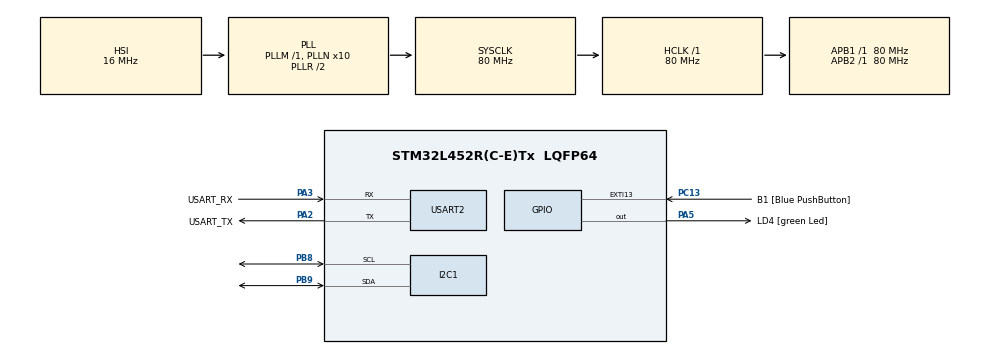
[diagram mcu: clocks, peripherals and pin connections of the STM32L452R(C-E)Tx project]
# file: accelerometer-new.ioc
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I2C1.Timing=0x10909CEC
Mcu.Family=STM32L4
Mcu.Name=STM32L452R(C-E)Tx
Mcu.Package=LQFP64
NVIC.PriorityGroup=NVIC_PRIORITYGROUP_4
PA13\ (JTMS/SWDIO).GPIO_Label=TMS
PA13\ (JTMS/SWDIO).Mode=Serial_Wire
PA13\ (JTMS/SWDIO).Signal=SYS_JTMS-SWDIO
PA14\ (JTCK/SWCLK).GPIO_Label=TCK
PA14\ (JTCK/SWCLK).Mode=Serial_Wire
PA14\ (JTCK/SWCLK).Signal=SYS_JTCK-SWCLK
PA2.GPIO_Label=USART_TX
PA2.GPIO_Mode=GPIO_MODE_AF_PP
PA2.GPIO_PuPd=GPIO_NOPULL
PA2.GPIO_Speed=GPIO_SPEED_FREQ_VERY_HIGH
PA2.Mode=Asynchronous
PA2.Signal=USART2_TX
PA3.GPIO_Label=USART_RX
PA3.GPIO_Mode=GPIO_MODE_AF_PP
PA3.GPIO_PuPd=GPIO_NOPULL
PA3.GPIO_Speed=GPIO_SPEED_FREQ_VERY_HIGH
PA3.Mode=Asynchronous
PA3.Signal=USART2_RX
PA5.GPIO_Label=LD4 [green Led]
PA5.GPIO_ModeDefaultOutputPP=GPIO_MODE_OUTPUT_PP
PA5.GPIO_PuPd=GPIO_NOPULL
PA5.GPIO_Speed=GPIO_SPEED_FREQ_LOW
PA5.Signal=GPIO_Output
PB3\ (JTDO/TRACESWO).GPIO_Label=SWO
PB3\ (JTDO/TRACESWO).Signal=SYS_JTDO-SWO
PB8.Mode=I2C
PB8.Signal=I2C1_SCL
PB9.Mode=I2C
PB9.Signal=I2C1_SDA
PC13.GPIO_Label=B1 [Blue PushButton]
PC13.GPIO_ModeDefaultEXTI=GPIO_MODE_IT_FALLING
PC13.GPIO_PuPd=GPIO_NOPULL
PC13.Signal=GPXTI13
PC14-OSC32_IN\ (PC14).Mode=LSE-External-Oscillator
PC14-OSC32_IN\ (PC14).Signal=RCC_OSC32_IN
PC15-OSC32_OUT\ (PC15).Mode=LSE-External-Oscillator
PC15-OSC32_OUT\ (PC15).Signal=RCC_OSC32_OUT
PH0-OSC_IN\ (PH0).Signal=RCC_OSC_IN
PH1-OSC_OUT\ (PH1).Signal=RCC_OSC_OUT
ProjectManager.HeapSize=0x200
ProjectManager.StackSize=0x400
ProjectManager.TargetToolchain=STM32CubeIDE
RCC.ADCFreq_Value=64000000
RCC.AHBFreq_Value=80000000
RCC.APB1Freq_Value=80000000
RCC.APB1TimFreq_Value=80000000
RCC.APB2Freq_Value=80000000
RCC.APB2TimFreq_Value=80000000
RCC.CortexFreq_Value=80000000
RCC.HCLKFreq_Value=80000000
RCC.HSE_VALUE=8000000
RCC.HSI48_VALUE=48000000
RCC.HSI_VALUE=16000000
RCC.MSI_VALUE=4000000
RCC.PLLN=10
RCC.PLLSourceVirtual=RCC_PLLSOURCE_HSI
RCC.PREFETCH_ENABLE=1
RCC.SYSCLKFreq_VALUE=80000000
RCC.SYSCLKSource=RCC_SYSCLKSOURCE_PLLCLK
RCC.USBFreq_Value=64000000
RCC.VCOOutputFreq_Value=160000000
USART2.VirtualMode-Asynchronous=VM_ASYNC
board=NUCLEO-L452RE

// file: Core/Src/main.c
/* USER CODE BEGIN Header */
/**
  ******************************************************************************
  * @file           : main.c
  * @brief          : Main program body
  ******************************************************************************
  * @attention
  *
  * Copyright (c) 2023 STMicroelectronics.
  * All rights reserved.
  *
  * This software is licensed under terms that can be found in the LICENSE file
  * in the root directory of this software component.
  * If no LICENSE file comes with this software, it is provided AS-IS.
  *
  ******************************************************************************
  *
  * May 30, 2023
  * Works on Asus Zephyrus (new laptop), gets the correct data from accelerometer.
  *
  */
/* USER CODE END Header */
#include "main.h"

/* USER CODE BEGIN Includes */
#include <string.h>
#include <stdio.h>
/* USER CODE END Includes */

I2C_HandleTypeDef hi2c1;

UART_HandleTypeDef huart2;

/* USER CODE BEGIN PV */
#define adxl_address 0x53<<1
/* USER CODE END PV */

void SystemClock_Config(void);
static void MX_GPIO_Init(void);
static void MX_USART2_UART_Init(void);
static void MX_I2C1_Init(void);
/* USER CODE BEGIN PFP */

uint8_t data_rec[6];

int16_t x, y, z; // original: uint16-t

float xg, yg, zg;

void display_data (float);

char x_char[3];

// write function
void adxl_write (uint8_t reg, uint8_t value) {
	uint8_t data[2];
	data[0] = reg;
	data[1] = value;
	HAL_I2C_Master_Transmit (&hi2c1, adxl_address, data, 2, 10);
}

// read function
void adxl_read (uint8_t reg, uint8_t numberofbytes) {
	HAL_I2C_Mem_Read (&hi2c1, adxl_address, reg, 1, data_rec, numberofbytes, 100);
}

// initialization
void adxl_init (void) {
	adxl_read(0x00,1); // 0xE5

	adxl_write (0x2d, 0); // reset all bits
	adxl_write (0x2d, 0x08); // measure bit-1, wakeup 0, 0 at 8hz

	adxl_write (0x31, 0x01); // +- 4g range
}

void display_data(float data) { // TODO check if UART output formatting is correct
	sprintf (x_char, "% 4f", data); // needed to add -u _printf_float linker flag -- might have to change to %.4f
	HAL_UART_Transmit(&huart2,x_char,strlen((char*)x_char),HAL_MAX_DELAY);
}

/* USER CODE END PFP */

int main(void)
{
  /* USER CODE BEGIN 1 */
	uint8_t buf[12];
  /* USER CODE END 1 */

  /* MCU Configuration--------------------------------------------------------*/

  /* Reset of all peripherals, Initializes the Flash interface and the Systick. */
  HAL_Init();

  /* Configure the system clock */
  SystemClock_Config();

  /* Initialize all configured peripherals */
  MX_GPIO_Init();
  MX_USART2_UART_Init();
  MX_I2C1_Init();
  /* USER CODE BEGIN 2 */
  adxl_init();
  /* USER CODE END 2 */

  /* Infinite loop */
  while (1)
  {

    /* USER CODE BEGIN 3 */

	  adxl_read (0x32, 6);
	  x = (data_rec[1]<<8) | data_rec[0];
	  y = (data_rec[3]<<8) | data_rec[2];
	  z = (data_rec[5]<<8) | data_rec[4];

	  /* convert the x value to the g
	   * under test condition: +-4 g, 10-bit resolution */
	  xg = x * .0078;
	  yg = y * .0078;
	  zg = z * .0078;

	  // print data to UART
	  strcpy((char*)buf,"\r\n============\r\nX: ");
	  HAL_UART_Transmit(&huart2,buf,strlen((char*)buf),HAL_MAX_DELAY);
	  display_data(xg);

	  strcpy((char*)buf,"\r\nY: ");
	  HAL_UART_Transmit(&huart2,buf,strlen((char*)buf),HAL_MAX_DELAY);
	  display_data(yg);

	  strcpy((char*)buf,"\r\nZ: ");
	  HAL_UART_Transmit(&huart2,buf,strlen((char*)buf),HAL_MAX_DELAY);
	  display_data(zg);

	  HAL_Delay(500);

  }
  /* USER CODE END 3 */
}

void SystemClock_Config(void)
{
  RCC_OscInitTypeDef RCC_OscInitStruct = {0};
  RCC_ClkInitTypeDef RCC_ClkInitStruct = {0};

  /** Configure the main internal regulator output voltage
  */
  if (HAL_PWREx_ControlVoltageScaling(PWR_REGULATOR_VOLTAGE_SCALE1) != HAL_OK)
  {
    Error_Handler();
  }

  /** Initializes the RCC Oscillators according to the specified parameters
  * in the RCC_OscInitTypeDef structure.
  */
  RCC_OscInitStruct.OscillatorType = RCC_OSCILLATORTYPE_HSI;
  RCC_OscInitStruct.HSIState = RCC_HSI_ON;
  RCC_OscInitStruct.HSICalibrationValue = RCC_HSICALIBRATION_DEFAULT;
  RCC_OscInitStruct.PLL.PLLState = RCC_PLL_ON;
  RCC_OscInitStruct.PLL.PLLSource = RCC_PLLSOURCE_HSI;
  RCC_OscInitStruct.PLL.PLLM = 1;
  RCC_OscInitStruct.PLL.PLLN = 10;
  RCC_OscInitStruct.PLL.PLLP = RCC_PLLP_DIV7;
  RCC_OscInitStruct.PLL.PLLQ = RCC_PLLQ_DIV2;
  RCC_OscInitStruct.PLL.PLLR = RCC_PLLR_DIV2;
  if (HAL_RCC_OscConfig(&RCC_OscInitStruct) != HAL_OK)
  {
    Error_Handler();
  }

  /** Initializes the CPU, AHB and APB buses clocks
  */
  RCC_ClkInitStruct.ClockType = RCC_CLOCKTYPE_HCLK|RCC_CLOCKTYPE_SYSCLK
                              |RCC_CLOCKTYPE_PCLK1|RCC_CLOCKTYPE_PCLK2;
  RCC_ClkInitStruct.SYSCLKSource = RCC_SYSCLKSOURCE_PLLCLK;
  RCC_ClkInitStruct.AHBCLKDivider = RCC_SYSCLK_DIV1;
  RCC_ClkInitStruct.APB1CLKDivider = RCC_HCLK_DIV1;
  RCC_ClkInitStruct.APB2CLKDivider = RCC_HCLK_DIV1;

  if (HAL_RCC_ClockConfig(&RCC_ClkInitStruct, FLASH_LATENCY_4) != HAL_OK)
  {
    Error_Handler();
  }
}

static void MX_I2C1_Init(void)
{

  hi2c1.Instance = I2C1;
  hi2c1.Init.Timing = 0x10909CEC;
  hi2c1.Init.OwnAddress1 = 0;
  hi2c1.Init.AddressingMode = I2C_ADDRESSINGMODE_7BIT;
  hi2c1.Init.DualAddressMode = I2C_DUALADDRESS_DISABLE;
  hi2c1.Init.OwnAddress2 = 0;
  hi2c1.Init.OwnAddress2Masks = I2C_OA2_NOMASK;
  hi2c1.Init.GeneralCallMode = I2C_GENERALCALL_DISABLE;
  hi2c1.Init.NoStretchMode = I2C_NOSTRETCH_DISABLE;
  if (HAL_I2C_Init(&hi2c1) != HAL_OK)
  {
    Error_Handler();
  }

  /** Configure Analogue filter
  */
  if (HAL_I2CEx_ConfigAnalogFilter(&hi2c1, I2C_ANALOGFILTER_ENABLE) != HAL_OK)
  {
    Error_Handler();
  }

  /** Configure Digital filter
  */
  if (HAL_I2CEx_ConfigDigitalFilter(&hi2c1, 0) != HAL_OK)
  {
    Error_Handler();
  }

}

static void MX_USART2_UART_Init(void)
{

  huart2.Instance = USART2;
  huart2.Init.BaudRate = 115200;
  huart2.Init.WordLength = UART_WORDLENGTH_8B;
  huart2.Init.StopBits = UART_STOPBITS_1;
  huart2.Init.Parity = UART_PARITY_NONE;
  huart2.Init.Mode = UART_MODE_TX_RX;
  huart2.Init.HwFlowCtl = UART_HWCONTROL_NONE;
  huart2.Init.OverSampling = UART_OVERSAMPLING_16;
  huart2.Init.OneBitSampling = UART_ONE_BIT_SAMPLE_DISABLE;
  huart2.AdvancedInit.AdvFeatureInit = UART_ADVFEATURE_NO_INIT;
  if (HAL_UART_Init(&huart2) != HAL_OK)
  {
    Error_Handler();
  }

}

static void MX_GPIO_Init(void)
{
  GPIO_InitTypeDef GPIO_InitStruct = {0};

  /* GPIO Ports Clock Enable */
  __HAL_RCC_GPIOC_CLK_ENABLE();
  __HAL_RCC_GPIOH_CLK_ENABLE();
  __HAL_RCC_GPIOA_CLK_ENABLE();
  __HAL_RCC_GPIOB_CLK_ENABLE();

  /*Configure GPIO pin Output Level */
  HAL_GPIO_WritePin(LD4_GPIO_Port, LD4_Pin, GPIO_PIN_RESET);

  /*Configure GPIO pin : B1_Pin */
  GPIO_InitStruct.Pin = B1_Pin;
  GPIO_InitStruct.Mode = GPIO_MODE_IT_FALLING;
  GPIO_InitStruct.Pull = GPIO_NOPULL;
  HAL_GPIO_Init(B1_GPIO_Port, &GPIO_InitStruct);

  /*Configure GPIO pin : LD4_Pin */
  GPIO_InitStruct.Pin = LD4_Pin;
  GPIO_InitStruct.Mode = GPIO_MODE_OUTPUT_PP;
  GPIO_InitStruct.Pull = GPIO_NOPULL;
  GPIO_InitStruct.Speed = GPIO_SPEED_FREQ_LOW;
  HAL_GPIO_Init(LD4_GPIO_Port, &GPIO_InitStruct);

}

void Error_Handler(void)
{
  __disable_irq();
  while (1)
  {
  }
}
